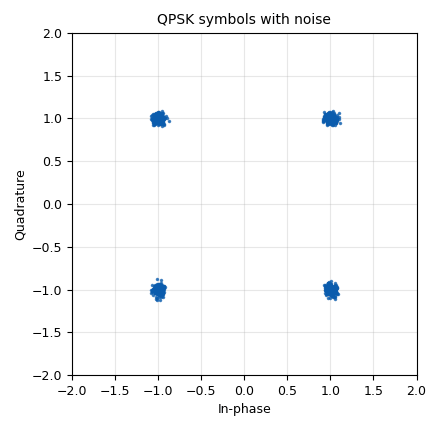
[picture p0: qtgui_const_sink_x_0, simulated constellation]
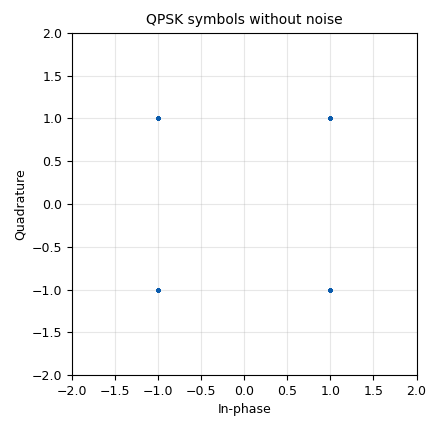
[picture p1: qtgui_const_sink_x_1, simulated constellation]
options:
  parameters:
    generate_options: qt_gui
    id: top
    output_language: python
    title: QPSK Signal
  states: {}

blocks:
- name: samp_rate
  id: variable
  parameters:
    value: '32000'
  states: {}
- name: analog_noise_source_x_0
  id: analog_noise_source_x
  parameters:
    amp: '0.05'
    noise_type: analog.GR_GAUSSIAN
    seed: '0'
    type: complex
  states: {}
- name: blocks_add_const_vxx_0
  id: blocks_add_const_vxx
  parameters:
    const: '-1'
    type: float
  states: {}
- name: blocks_add_const_vxx_1
  id: blocks_add_const_vxx
  parameters:
    const: '-1'
    type: float
  states: {}
- name: blocks_add_xx_0
  id: blocks_add_xx
  parameters:
    type: complex
  states: {}
- name: blocks_float_to_complex_0
  id: blocks_float_to_complex
  parameters: {}
  states: {}
- name: blocks_multiply_const_vxx_0
  id: blocks_multiply_const_vxx
  parameters:
    const: '2'
    type: float
  states: {}
- name: blocks_multiply_const_vxx_1
  id: blocks_multiply_const_vxx
  parameters:
    const: '2'
    type: float
  states: {}
- name: blocks_vector_source_x_0
  id: blocks_vector_source_x
  parameters:
    repeat: 'True'
    type: float
    vector: (0, 0, 1, 1)
  states: {}
- name: blocks_vector_source_x_1
  id: blocks_vector_source_x
  parameters:
    repeat: 'True'
    type: float
    vector: (0, 1, 1, 0)
  states: {}
- name: qtgui_const_sink_x_0
  id: qtgui_const_sink_x
  parameters:
    name: '"QPSK symbols with noise"'
    size: '1024'
    type: complex
  states: {}
- name: qtgui_const_sink_x_1
  id: qtgui_const_sink_x
  parameters:
    name: '"QPSK symbols without noise"'
    size: '1024'
    type: complex
  states: {}

connections:
- [analog_noise_source_x_0, '0', blocks_add_xx_0, '0']
- [blocks_add_const_vxx_0, '0', blocks_float_to_complex_0, '0']
- [blocks_add_const_vxx_1, '0', blocks_float_to_complex_0, '1']
- [blocks_add_xx_0, '0', qtgui_const_sink_x_0, '0']
- [blocks_float_to_complex_0, '0', blocks_add_xx_0, '1']
- [blocks_float_to_complex_0, '0', qtgui_const_sink_x_1, '0']
- [blocks_multiply_const_vxx_0, '0', blocks_add_const_vxx_1, '0']
- [blocks_multiply_const_vxx_1, '0', blocks_add_const_vxx_0, '0']
- [blocks_vector_source_x_0, '0', blocks_multiply_const_vxx_0, '0']
- [blocks_vector_source_x_1, '0', blocks_multiply_const_vxx_1, '0']

metadata:
  file_format: 1
  grc_version: 3.10.7.0
